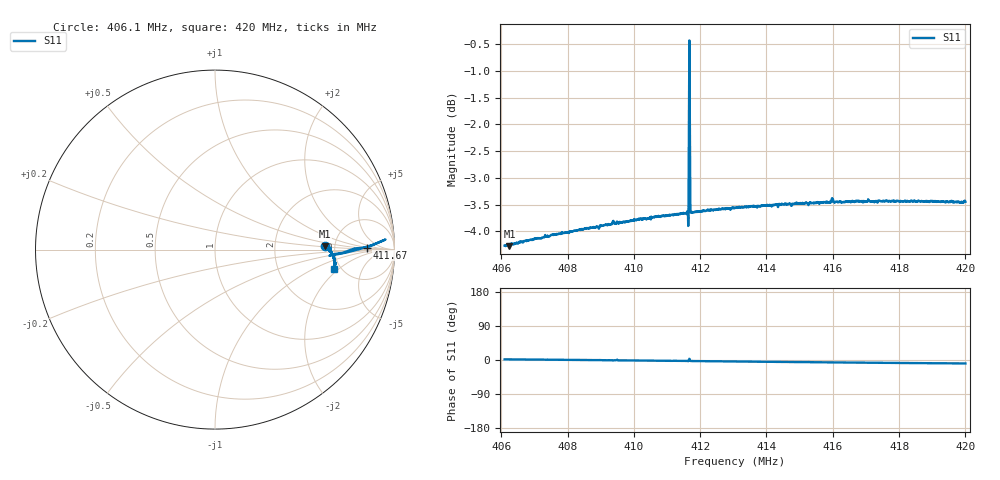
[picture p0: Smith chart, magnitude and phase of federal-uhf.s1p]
! Calibrated averaged scanner-service zoom
# Hz S RI R 50
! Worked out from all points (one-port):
!   2001 points, 406.1 MHz to 420 MHz, reference 50 ohm
!   lowest |S11| = -4.3 dB at 406.25 MHz (marker M1), VSWR 4.14, Z = 206 + j12 ohm
!   |S11| at or under -10 dB: nowhere
!   S11 on the Smith chart (normalised r, x): 406.1 MHz: 4.14, +0.24; 411.67 MHz: 12, +1; 420 MHz: 4.40, -1.72
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4.061e8  0.6116 0.0183
4.06246e8  0.6108 0.0183
4.078375e8  0.6283 0.00512
4.089008e8  0.6372 -0.00326
4.093804e8  0.6452 -0.0116
4.09443e8  0.6413 -0.00935
4.095333e8  0.642 -0.00925
4.09575e8  0.6433 -0.0106
4.113125e8  0.6544 -0.0273
4.115766e8  0.6553 -0.0287
4.115905e8  0.6554 -0.0291
4.115974e8  0.6557 -0.0299
4.116114e8  0.657 -0.0301
4.116183e8  0.6554 -0.0285
4.116322e8  0.653 -0.0299
4.11667e8  0.8463 0.0117
4.117226e8  0.6567 -0.0311
4.117295e8  0.6571 -0.0316
4.117434e8  0.6563 -0.0315
4.117573e8  0.6568 -0.0311
4.117642e8  0.6563 -0.0314
4.117782e8  0.6563 -0.0317
4.1305e8  0.6618 -0.0453
4.147875e8  0.6667 -0.0619
4.159829e8  0.6734 -0.0747
4.16525e8  0.6679 -0.0782
4.182625e8  0.6663 -0.0933
4.2e8  0.6636 -0.1072
